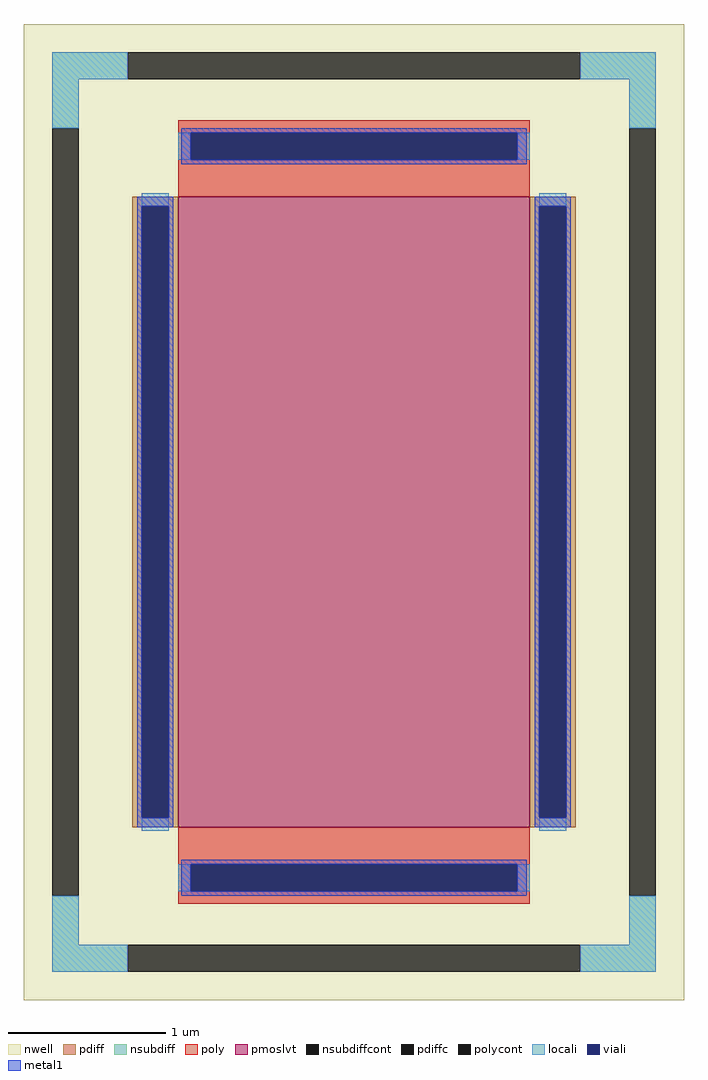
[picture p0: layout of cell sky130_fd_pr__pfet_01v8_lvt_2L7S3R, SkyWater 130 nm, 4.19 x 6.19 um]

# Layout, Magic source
magic
tech sky130A
magscale 1 2
<< nwell >>
rect -419 -619 419 619
<< pmoslvt >>
rect -223 -400 223 400
<< pdiff >>
rect -281 388 -223 400
rect -281 -388 -269 388
rect -235 -388 -223 388
rect -281 -400 -223 -388
rect 223 388 281 400
rect 223 -388 235 388
rect 269 -388 281 388
rect 223 -400 281 -388
<< pdiffc >>
rect -269 -388 -235 388
rect 235 -388 269 388
<< nsubdiff >>
rect -383 549 -287 583
rect 287 549 383 583
rect -383 487 -349 549
rect 349 487 383 549
rect -383 -549 -349 -487
rect 349 -549 383 -487
rect -383 -583 -287 -549
rect 287 -583 383 -549
<< nsubdiffcont >>
rect -287 549 287 583
rect -383 -487 -349 487
rect 349 -487 383 487
rect -287 -583 287 -549
<< poly >>
rect -223 481 223 497
rect -223 447 -207 481
rect 207 447 223 481
rect -223 400 223 447
rect -223 -447 223 -400
rect -223 -481 -207 -447
rect 207 -481 223 -447
rect -223 -497 223 -481
<< polycont >>
rect -207 447 207 481
rect -207 -481 207 -447
<< locali >>
rect -383 549 -287 583
rect 287 549 383 583
rect -383 487 -349 549
rect 349 487 383 549
rect -223 447 -207 481
rect 207 447 223 481
rect -269 388 -235 404
rect -269 -404 -235 -388
rect 235 388 269 404
rect 235 -404 269 -388
rect -223 -481 -207 -447
rect 207 -481 223 -447
rect -383 -549 -349 -487
rect 349 -549 383 -487
rect -383 -583 -287 -549
rect 287 -583 383 -549
<< viali >>
rect -207 447 207 481
rect -269 -388 -235 388
rect 235 -388 269 388
rect -207 -481 207 -447
<< metal1 >>
rect -219 481 219 487
rect -219 447 -207 481
rect 207 447 219 481
rect -219 441 219 447
rect -275 388 -229 400
rect -275 -388 -269 388
rect -235 -388 -229 388
rect -275 -400 -229 -388
rect 229 388 275 400
rect 229 -388 235 388
rect 269 -388 275 388
rect 229 -400 275 -388
rect -219 -447 219 -441
rect -219 -481 -207 -447
rect 207 -481 219 -447
rect -219 -487 219 -481
<< properties >>
string FIXED_BBOX -366 -566 366 566
string gencell sky130_fd_pr__pfet_01v8_lvt
string library sky130
string parameters w 4.0 l 2.23 m 1 nf 1 diffcov 100 polycov 100 guard 1 glc 1 grc 1 gtc 1 gbc 1 tbcov 100 rlcov 100 topc 1 botc 1 poverlap 0 doverlap 1 lmin 0.35 wmin 0.42 compatible {sky130_fd_pr__pfet_01v8  sky130_fd_pr__pfet_01v8_lvt sky130_fd_pr__pfet_01v8_hvt  sky130_fd_pr__pfet_g5v0d10v5} full_metal 1 viasrc 100 viadrn 100 viagate 100 viagb 0 viagr 0 viagl 0 viagt 0
<< end >>
